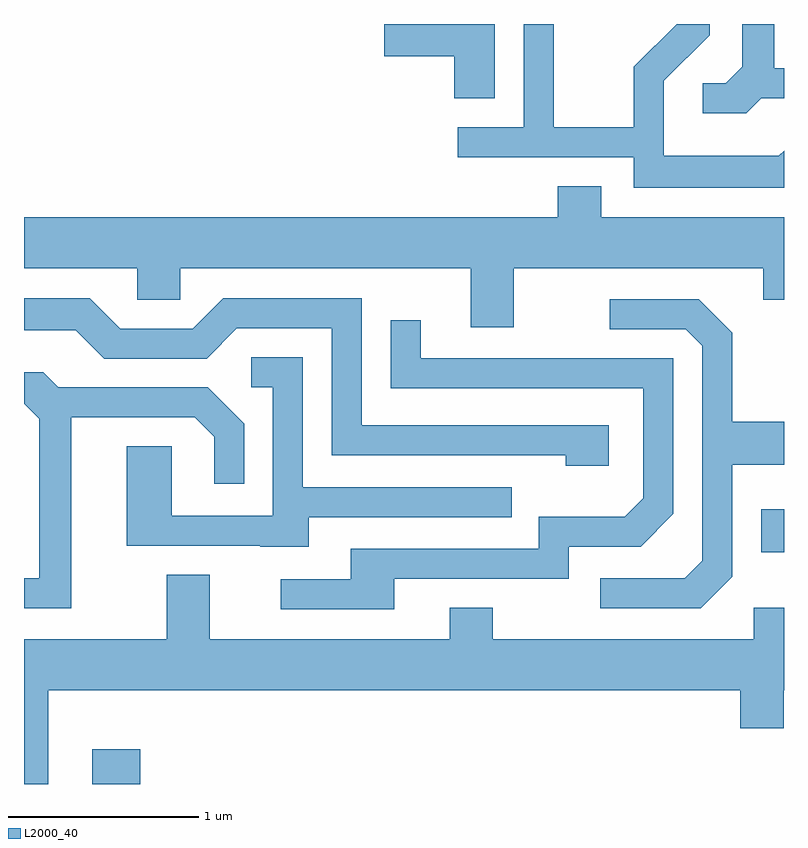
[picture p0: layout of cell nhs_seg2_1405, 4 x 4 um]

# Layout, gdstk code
import gdstk
lib = gdstk.Library(unit=1e-6, precision=1e-09)
def R(c, l, rs):  # rectangles x0, y0, x1, y1
    for r in rs: c.add(gdstk.rectangle(r[:2], r[2:], *l))
def P(c, l, *ps):  # polygons
    for p in ps: c.add(gdstk.Polygon(p, *l))
L2000_40 = (2000, 40)

nhs_seg2_1405 = lib.new_cell('nhs_seg2_1405')
R(nhs_seg2_1405, L2000_40, [(225.971,1067.802,226.224,1067.984), (229.491,1069.021,229.611,1069.249)])
P(nhs_seg2_1405, L2000_40, [(228.089,1071.802),(227.506,1071.802),(227.506,1071.631),(227.876,1071.631),(227.876,1071.411),(228.089,1071.411)],
  [(229.492,1071.411),(229.611,1071.411),(229.611,1071.569),(229.559,1071.569),(229.559,1071.802),(229.391,1071.802),(229.391,1071.577),(229.304,1071.489),(229.183,1071.489),(229.183,1071.331),(229.412,1071.331)],
  [(229.611,1071.136),(229.584,1071.109),(228.979,1071.109),(228.979,1071.504),(229.219,1071.744),(229.219,1071.802),(229.046,1071.802),(228.821,1071.577),(228.821,1071.259),(228.399,1071.259),(228.399,1071.802),(228.241,1071.802),(228.241,1071.259),(227.893,1071.259),(227.893,1071.101),(228.821,1071.101),(228.821,1070.941),(229.611,1070.941)],
  [(228.189,1070.516),(229.501,1070.516),(229.501,1070.351),(229.611,1070.351),(229.611,1070.784),(228.649,1070.784),(228.649,1070.949),(228.421,1070.949),(228.421,1070.784),(225.611,1070.784),(225.611,1070.516),(226.206,1070.516),(226.206,1070.351),(226.434,1070.351),(226.434,1070.516),(227.961,1070.516),(227.961,1070.206),(228.189,1070.206)],
  [(228.689,1069.689),(227.389,1069.689),(227.389,1070.359),(226.659,1070.359),(226.499,1070.199),(226.117,1070.199),(225.957,1070.359),(225.611,1070.359),(225.611,1070.191),(225.884,1070.191),(226.034,1070.041),(226.572,1070.041),(226.732,1070.201),(227.231,1070.201),(227.231,1069.531),(228.461,1069.531),(228.461,1069.476),(228.689,1069.476)],
  [(229.339,1068.894),(229.339,1069.481),(229.611,1069.481),(229.611,1069.709),(229.339,1069.709),(229.339,1070.177),(229.162,1070.354),(228.693,1070.354),(228.693,1070.196),(229.094,1070.196),(229.181,1070.109),(229.181,1068.977),(229.089,1068.884),(228.643,1068.884),(228.643,1068.726),(229.172,1068.726)],
  [(227.559,1068.881),(228.479,1068.881),(228.479,1069.051),(228.857,1069.051),(229.029,1069.224),(229.029,1070.044),(227.699,1070.044),(227.699,1070.243),(227.541,1070.243),(227.541,1069.886),(228.871,1069.886),(228.871,1069.307),(228.774,1069.209),(228.321,1069.209),(228.321,1069.039),(227.331,1069.039),(227.331,1068.879),(226.963,1068.879),(226.963,1068.721),(227.559,1068.721)],
  [(227.109,1069.206),(228.178,1069.206),(228.178,1069.364),(227.079,1069.364),(227.079,1070.049),(226.808,1070.049),(226.808,1069.891),(226.921,1069.891),(226.921,1069.214),(226.389,1069.214),(226.389,1069.579),(226.151,1069.579),(226.151,1069.056),(226.855,1069.056),(226.855,1069.051),(227.109,1069.051)],
  [(225.859,1069.731),(226.509,1069.731),(226.611,1069.629),(226.611,1069.383),(226.769,1069.383),(226.769,1069.697),(226.577,1069.889),(225.792,1069.889),(225.712,1069.969),(225.611,1069.969),(225.611,1069.804),(225.691,1069.724),(225.691,1068.884),(225.611,1068.884),(225.611,1068.726),(225.859,1068.726)],
  [(225.739,1068.296),(229.381,1068.296),(229.381,1068.096),(229.609,1068.096),(229.609,1068.296),(229.611,1068.296),(229.611,1068.729),(229.451,1068.729),(229.451,1068.564),(228.079,1068.564),(228.079,1068.729),(227.851,1068.729),(227.851,1068.564),(226.589,1068.564),(226.589,1068.904),(226.361,1068.904),(226.361,1068.564),(225.611,1068.564),(225.611,1067.802),(225.739,1067.802)])

lib.write_gds('nhs_seg2_1405.gds')
